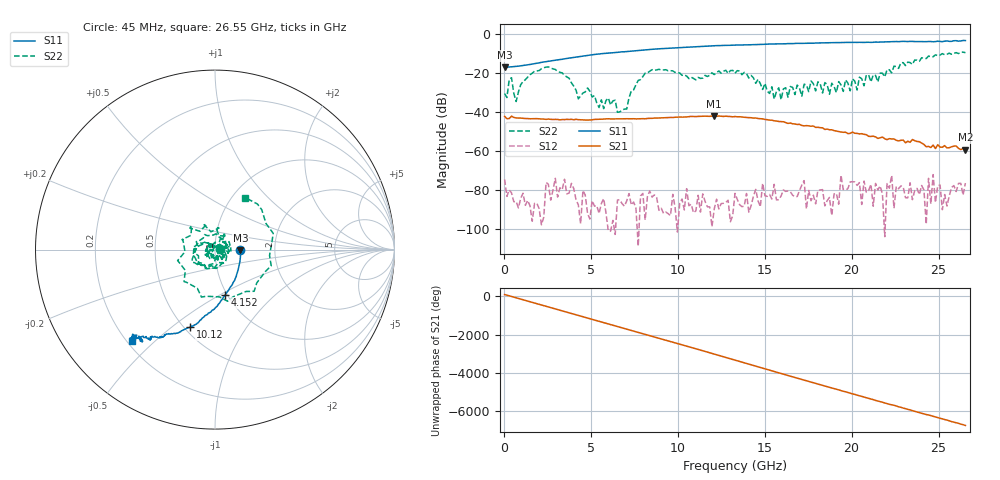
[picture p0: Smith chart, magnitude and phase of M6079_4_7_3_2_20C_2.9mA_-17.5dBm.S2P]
!  2-Port S-parameters saved by WinCal
! VAR MeasName=S-Parameters (CALIBRATED_DATA) read from VNA (C)
! VAR MeasDate=10/5/2015 4:52:07 PM
! VAR NAME=M6079_4_7_3_2_20C_2.9mA_-17.5dBm
! VAR FILENAME=M6079_4_7_3_2_20C_2.9mA_-17.5dBm.S2P
! VAR DATE=10/5/2015 4:52:07 PM
! VAR PHYS_PORTS=2,1
! VAR ObjTypeName=DATASET
! VAR IndexType=Frequency
# Hz S RI R 50
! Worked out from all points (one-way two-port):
!   201 points, 45 MHz to 26.55 GHz, reference 50 ohm
!   highest |S21| = -42.03 dB at 12.1 GHz (marker M1); lowest = -59.4 dB at 26.55 GHz (marker M2)
!   lowest |S11| = -17.0 dB at 45 MHz (marker M3), VSWR 1.33, Z = 66.5 - j0.203 ohm
!   |S11| at or under -10 dB: start of sweep to 5.605 GHz
!   |S22| runs from -40.2 to -9.2 dB; largest |S21 - S12| = 0.0079
!   S11 on the Smith chart (normalised r, x): 45 MHz: 1.33, -0.00; 4.152 GHz: 0.98, -0.53; 10.12 GHz: 0.54, -0.58; 26.55 GHz: 0.22, -0.43
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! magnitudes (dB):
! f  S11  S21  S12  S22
! 45 MHz  -17.0  -42.2  -74.7  -30.5
! 442.5 MHz  -16.7  -42.1  -81.6  -22.4
! 707.5 MHz  -16.6  -43.1  -86.0  -34.6
! 1.105 GHz  -16.1  -43.3  -81.8  -24.4
! 2.562 GHz  -13.8  -43.6  -77.2  -16.8
! 4.152 GHz  -11.7  -43.8  -85.1  -28.7
! 4.55 GHz  -11.2  -44.1  -80.3  -30.2
! 6.67 GHz  -9.2  -43.5  -85.2  -39.9
! 8.922 GHz  -7.5  -43.1  -90.6  -18.0
! 10.12 GHz  -6.9  -42.6  -86.9  -19.9
! 12.1 GHz  -5.9  -42.0  -89.8  -20.7
! 13.29 GHz  -5.6  -42.3  -81.8  -20.0
! 15.55 GHz  -5.0  -44.5  -77.2  -33.3
! 17.8 GHz  -4.6  -47.2  -82.8  -25.4
! 19.26 GHz  -4.3  -50.1  -87.4  -24.4
! 19.39 GHz  -4.3  -50.3  -72.5  -26.0
! 19.52 GHz  -4.2  -50.4  -79.9  -29.4
! 20.32 GHz  -4.2  -51.0  -77.7  -28.7
! 22.17 GHz  -3.9  -53.7  -79.2  -18.3
! 22.3 GHz  -3.9  -53.9  -72.6  -19.9
! 22.44 GHz  -3.8  -53.8  -89.5  -16.4
! 26.55 GHz  -3.2  -59.4  -76.6  -9.5
